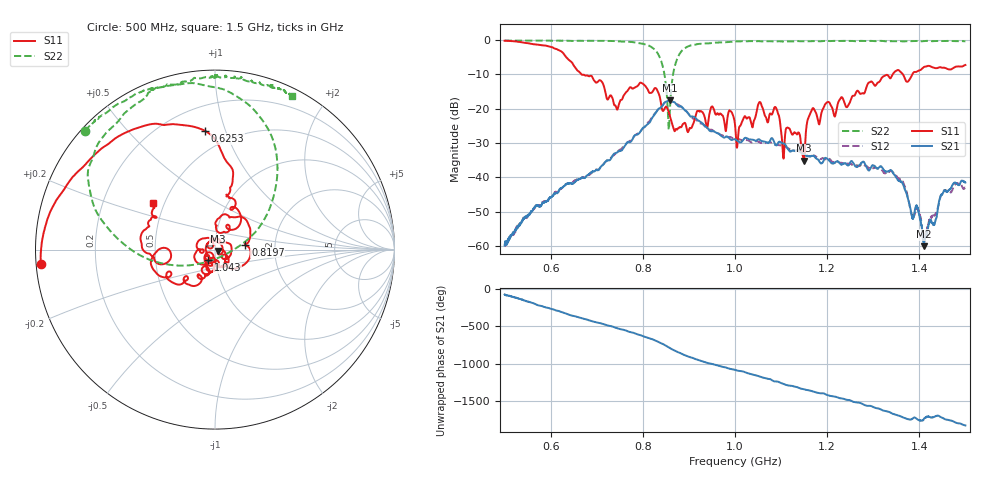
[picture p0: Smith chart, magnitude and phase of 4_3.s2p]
!Agilent Technologies,E8364B,US42250235,A.06.04.32
!Agilent E8364B: A.06.04.32
!Date: Thursday, October 01, 2020 14:35:03
!Correction: S11(Full 2 Port(1,2)) S21(Full 2 Port(1,2)) S12(Full 2 Port(1,2)) S22(Full 2 Port(1,2))
!S2P File: Measurements: S11, S21, S12, S22:
# Hz S  dB  R 50
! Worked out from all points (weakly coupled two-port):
!   2650 points, 500 MHz to 1.5 GHz, reference 50 ohm
!   highest |S21| = -17.51 dB at 858.2 MHz (marker M1); lowest = -60.0 dB at 1.41 GHz (marker M2)
!   lowest |S11| = -35.1 dB at 1.15 GHz (marker M3), VSWR 1.04, Z = 51.6 - j0.773 ohm
!   |S11| at or under -10 dB: 666.7 MHz to 1.342 GHz (675.6 MHz wide, 67.3 % of centre); 1.364 GHz to 1.385 GHz (20.54 MHz wide, 1.49 % of centre)
!   |S22| runs from -26.1 to -0.1 dB; largest |S21 - S12| = 0.0094
!   S11 on the Smith chart (normalised r, x): 500 MHz: 0.01, -0.04; 625.3 MHz: 0.36, +0.85; 819.7 MHz: 1.41, +0.08; 1.043 GHz: 0.92, -0.11; 1.5 GHz: 0.43, +0.27
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5e8  -0.22 -175.2  -59.83 -72.5  -59.83 -73.5  -0.17 137.6
5.717252e8  -1.37 142.1  -48.28 144.7  -48.10 146.5  -0.20 131.5
6.253303e8  -3.57 94.7  -42.98 48.7  -43.03 48.1  -0.21 124.4
6.668554e8  -10.02 76.5  -40.14 -30.9  -40.13 -32.4  -0.25 119.4
7.423556e8  -19.67 66.3  -32.88 -161.6  -32.90 -155.8  -0.36 110.2
8.197433e8  -15.29 9.3  -22.77 48.5  -22.50 50.6  -2.16 71.3
8.337108e8  -15.38 -34.4  -20.07 9.9  -20.13 11.8  -4.23 55.8
8.582484e8  -21.97 -97.3  -17.51 -70.6  -17.43 -67.2  -21.77 -123.3
8.688184e8  -26.56 -135.2  -18.12 -106.8  -18.24 -103.5  -7.90 -174.3
8.861835e8  -24.61 109.9  -19.68 -155.9  -19.85 -154.2  -2.93 160.5
9.507361e8  -19.33 -58.9  -26.56 73.4  -26.21 74.3  -0.86 124.9
1.000189e9  -24.85 -154.7  -28.91 -6.9  -28.86 -7.1  -0.45 113.0
1.042846e9  -23.03 -123.6  -29.26 -77.5  -29.55 -78.4  -0.38 111.3
1.088146e9  -19.58 155.1  -30.57 -162.1  -30.58 -162.1  -0.43 107.2
1.104002e9  -33.18 116.3  -30.14 169.1  -30.68 169.5  -0.47 104.2
1.115327e9  -25.55 119.4  -31.83 144.9  -31.54 147.4  -0.42 101.0
1.149679e9  -35.14 -25.3  -33.21 93.4  -33.03 89.1  -0.33 93.0
1.166667e9  -20.37 -58.9  -33.74 69.5  -33.70 64.5  -0.34 91.0
1.333522e9  -10.59 -154.4  -38.22 149.8  -38.57 147.4  -0.35 77.7
1.409777e9  -7.89 179.7  -60.03 54.9  -59.48 64.0  -0.33 69.7
1.45168e9  -8.07 154.7  -44.39 64.4  -44.38 56.4  -0.31 67.5
1.5e9  -7.27 143.5  -41.50 -33.3  -42.32 -26.9  -0.38 63.5
